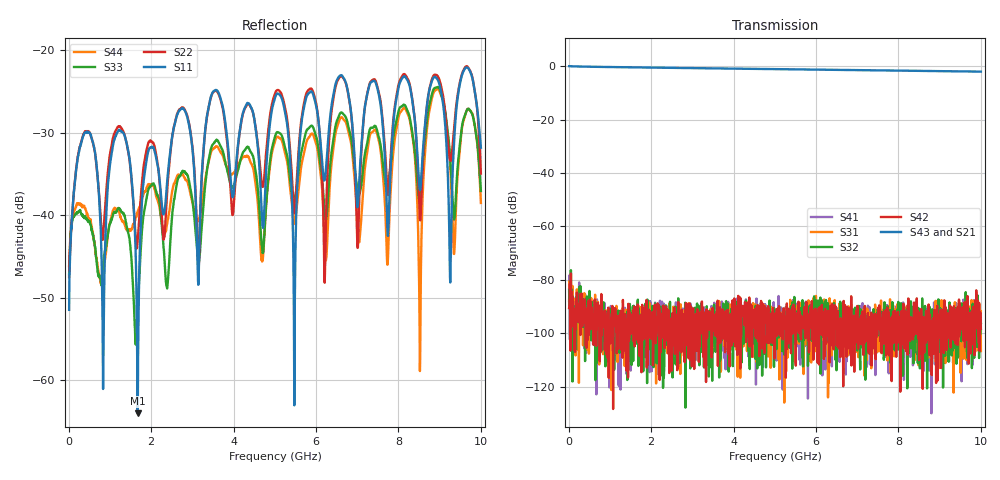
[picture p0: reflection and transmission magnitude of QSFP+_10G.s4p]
!Agilent Technologies,N5224A,MY51441544,A.10.00.00
!Agilent N5224A: A.10.00.00
!Date: Wednesday, July 15, 2015 14:47:32
!Correction: S11(Full 4 Port(1,2,3,4))
!S12(Full 4 Port(1,2,3,4))
!S13(Full 4 Port(1,2,3,4))
!S14(Full 4 Port(1,2,3,4))
!S21(Full 4 Port(1,2,3,4))
!S22(Full 4 Port(1,2,3,4))
!S23(Full 4 Port(1,2,3,4))
!S24(Full 4 Port(1,2,3,4))
!S31(Full 4 Port(1,2,3,4))
!S32(Full 4 Port(1,2,3,4))
!S33(Full 4 Port(1,2,3,4))
!S34(Full 4 Port(1,2,3,4))
!S41(Full 4 Port(1,2,3,4))
!S42(Full 4 Port(1,2,3,4))
!S43(Full 4 Port(1,2,3,4))
!S44(Full 4 Port(1,2,3,4))
!S4P File: Measurements: <S11,S12,S13,S14>,
!<S21,S22,S23,S24>,
!<S31,S32,S33,S34>,
!<S41,S42,S43,S44>:
# Hz S  RI  R 50
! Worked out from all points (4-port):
!   1601 points, 10 MHz to 10 GHz, reference 50 ohm
!   strongest paths, dB at 10 MHz, 2.507 GHz, 5.005 GHz, 7.503 GHz, 10 GHz:
!     S43: 0.0, -0.7, -1.1, -1.6, -2.1
!     S21: 0.0, -0.7, -1.2, -1.7, -2.2
!     S42: -90.6, -100.7, -98.8, -96.0, -98.3
!     S32: -83.7, -95.9, -99.1, -90.8, -96.5
!     S31: -87.9, -95.2, -94.5, -93.3, -106.7
!     S41: -80.4, -94.7, -105.9, -91.8, -98.9
!   lowest |S11| = -64.0 dB at 1.671 GHz (marker M1), VSWR 1.00, Z = 50 - j0.0458 ohm
!   |S11| at or under -10 dB: start of sweep to end of sweep
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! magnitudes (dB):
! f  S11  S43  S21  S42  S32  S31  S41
! 10 MHz  -51.5  0.0  0.0  -90.6  -83.7  -87.9  -80.4
! 1.265 GHz  -29.8  -0.4  -0.4  -91.7  -91.6  -100.8  -96.1
! 1.671 GHz  -64.0  -0.5  -0.5  -93.9  -97.7  -88.3  -98.9
! 3.538 GHz  -24.9  -0.9  -0.9  -99.3  -101.8  -95.5  -94.9
! 5.473 GHz  -63.0  -1.2  -1.3  -90.5  -86.4  -96.8  -97.3
! 5.848 GHz  -25.1  -1.3  -1.4  -98.0  -95.0  -100.2  -92.1
! 10 GHz  -31.8  -2.1  -2.2  -98.3  -96.5  -106.7  -98.9
